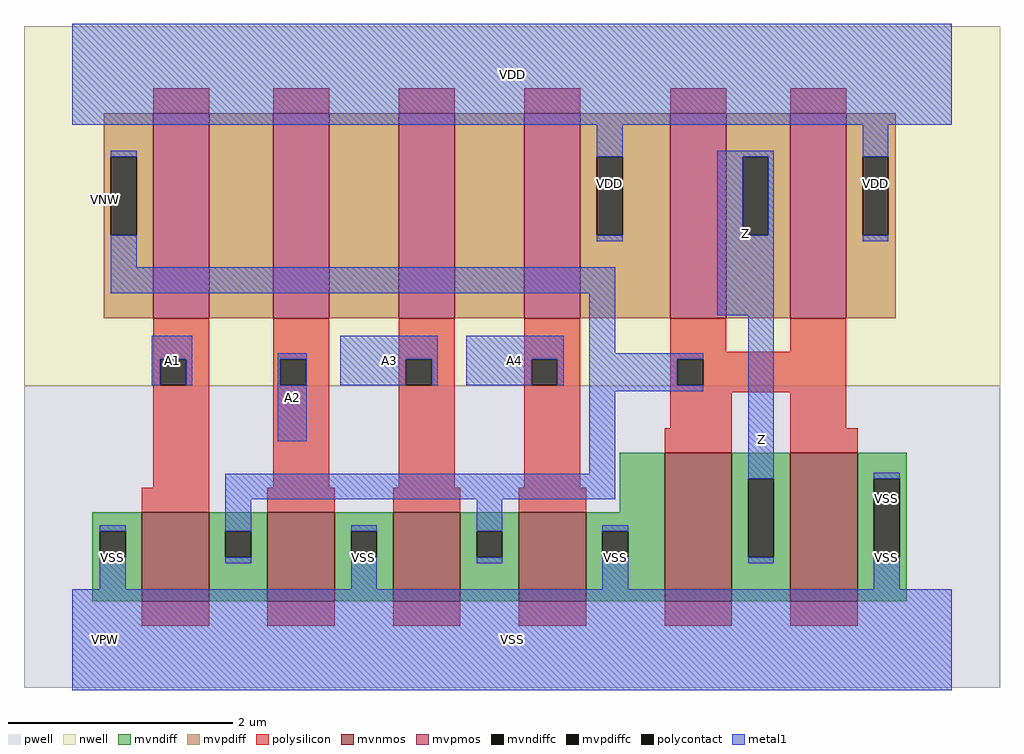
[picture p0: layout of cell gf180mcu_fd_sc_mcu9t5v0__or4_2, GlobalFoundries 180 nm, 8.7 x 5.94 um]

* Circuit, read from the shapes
.subckt gf180mcu_fd_sc_mcu9t5v0__or4_2 A1 A2 A3 A4 Z VDD VNW VPW VSS
XM1 n1 A1 VSS VPW nfet_06v0 w=0.79u l=0.6u
XM2 VSS A2 n1 VPW nfet_06v0 w=0.79u l=0.6u
XM3 n1 A3 VSS VPW nfet_06v0 w=0.79u l=0.6u
XM4 VSS A4 n1 VPW nfet_06v0 w=0.79u l=0.6u
XM5 Z n1 VSS VPW nfet_06v0 w=1.32u l=0.6u m=2
XM6 n2 A1 n1 VNW pfet_06v0 w=1.83u l=0.5u
XM7 n3 A2 n2 VNW pfet_06v0 w=1.83u l=0.5u
XM8 n4 A3 n3 VNW pfet_06v0 w=1.83u l=0.5u
XM9 VDD A4 n4 VNW pfet_06v0 w=1.83u l=0.5u
XM10 Z n1 VDD VNW pfet_06v0 w=1.83u l=0.5u m=2
.ends

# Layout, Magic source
magic
tech gf180mcuD
magscale 1 10
<< nwell >>
rect -86 453 1654 1094
<< pwell >>
rect -86 -86 1654 453
<< mvnmos >>
rect 124 69 244 227
rect 348 69 468 227
rect 572 69 692 227
rect 796 69 916 227
rect 1056 69 1176 333
rect 1280 69 1400 333
<< mvpmos >>
rect 144 573 244 939
rect 358 573 458 939
rect 582 573 682 939
rect 806 573 906 939
rect 1066 573 1166 939
rect 1280 573 1380 939
<< mvndiff >>
rect 976 227 1056 333
rect 36 193 124 227
rect 36 147 49 193
rect 95 147 124 193
rect 36 69 124 147
rect 244 193 348 227
rect 244 147 273 193
rect 319 147 348 193
rect 244 69 348 147
rect 468 193 572 227
rect 468 147 497 193
rect 543 147 572 193
rect 468 69 572 147
rect 692 193 796 227
rect 692 147 721 193
rect 767 147 796 193
rect 692 69 796 147
rect 916 193 1056 227
rect 916 147 945 193
rect 991 147 1056 193
rect 916 69 1056 147
rect 1176 287 1280 333
rect 1176 147 1205 287
rect 1251 147 1280 287
rect 1176 69 1280 147
rect 1400 287 1488 333
rect 1400 147 1429 287
rect 1475 147 1488 287
rect 1400 69 1488 147
<< mvpdiff >>
rect 56 861 144 939
rect 56 721 69 861
rect 115 721 144 861
rect 56 573 144 721
rect 244 573 358 939
rect 458 573 582 939
rect 682 573 806 939
rect 906 861 1066 939
rect 906 721 935 861
rect 981 721 1066 861
rect 906 573 1066 721
rect 1166 861 1280 939
rect 1166 721 1195 861
rect 1241 721 1280 861
rect 1166 573 1280 721
rect 1380 861 1468 939
rect 1380 721 1409 861
rect 1455 721 1468 861
rect 1380 573 1468 721
<< mvndiffc >>
rect 49 147 95 193
rect 273 147 319 193
rect 497 147 543 193
rect 721 147 767 193
rect 945 147 991 193
rect 1205 147 1251 287
rect 1429 147 1475 287
<< mvpdiffc >>
rect 69 721 115 861
rect 935 721 981 861
rect 1195 721 1241 861
rect 1409 721 1455 861
<< polysilicon >>
rect 144 939 244 983
rect 358 939 458 983
rect 582 939 682 983
rect 806 939 906 983
rect 1066 939 1166 983
rect 1280 939 1380 983
rect 144 500 244 573
rect 144 454 157 500
rect 203 454 244 500
rect 144 271 244 454
rect 358 500 458 573
rect 358 454 371 500
rect 417 454 458 500
rect 358 271 458 454
rect 582 500 682 573
rect 582 454 595 500
rect 641 454 682 500
rect 582 271 682 454
rect 806 500 906 573
rect 806 454 819 500
rect 865 454 906 500
rect 806 271 906 454
rect 1066 513 1166 573
rect 1280 513 1380 573
rect 1066 500 1380 513
rect 1066 454 1079 500
rect 1125 454 1380 500
rect 1066 441 1380 454
rect 1066 377 1176 441
rect 1056 333 1176 377
rect 1280 377 1380 441
rect 1280 333 1400 377
rect 124 227 244 271
rect 348 227 468 271
rect 572 227 692 271
rect 796 227 916 271
rect 124 25 244 69
rect 348 25 468 69
rect 572 25 692 69
rect 796 25 916 69
rect 1056 25 1176 69
rect 1280 25 1400 69
<< polycontact >>
rect 157 454 203 500
rect 371 454 417 500
rect 595 454 641 500
rect 819 454 865 500
rect 1079 454 1125 500
<< metal1 >>
rect 0 918 1568 1098
rect 69 861 115 872
rect 69 664 115 721
rect 935 861 981 918
rect 935 710 981 721
rect 1150 861 1251 872
rect 1150 721 1195 861
rect 1241 721 1251 861
rect 69 618 968 664
rect 142 500 214 542
rect 142 454 157 500
rect 203 454 214 500
rect 366 500 418 511
rect 366 454 371 500
rect 417 454 418 500
rect 478 500 652 542
rect 478 454 595 500
rect 641 454 652 500
rect 702 500 876 542
rect 702 454 819 500
rect 865 454 876 500
rect 922 511 968 618
rect 1150 578 1251 721
rect 1409 861 1455 918
rect 1409 710 1455 721
rect 922 500 1125 511
rect 922 454 1079 500
rect 366 354 418 454
rect 922 443 1125 454
rect 922 296 968 443
rect 273 250 968 296
rect 1205 287 1251 578
rect 49 193 95 204
rect 49 90 95 147
rect 273 193 319 250
rect 273 136 319 147
rect 497 193 543 204
rect 497 90 543 147
rect 721 193 767 250
rect 721 136 767 147
rect 945 193 991 204
rect 945 90 991 147
rect 1205 136 1251 147
rect 1429 287 1475 298
rect 1429 90 1475 147
rect 0 -90 1568 90
<< labels >>
flabel metal1 s 142 454 214 542 0 FreeSans 200 0 0 0 A1
port 1 nsew default input
flabel metal1 s 366 354 418 511 0 FreeSans 200 0 0 0 A2
port 2 nsew default input
flabel metal1 s 478 454 652 542 0 FreeSans 200 0 0 0 A3
port 3 nsew default input
flabel metal1 s 702 454 876 542 0 FreeSans 200 0 0 0 A4
port 4 nsew default input
flabel metal1 s 0 918 1568 1098 0 FreeSans 200 0 0 0 VDD
port 6 nsew power bidirectional abutment
flabel metal1 s 1429 204 1475 298 0 FreeSans 200 0 0 0 VSS
port 9 nsew ground bidirectional abutment
flabel metal1 s 1150 578 1251 872 0 FreeSans 200 0 0 0 Z
port 5 nsew default output
flabel nwell s 10 734 110 834 0 FreeSans 400 0 0 0 VNW
port 7 nsew power bidirectional
flabel pwell s 10 -50 110 50 0 FreeSans 400 0 0 0 VPW
port 8 nsew ground bidirectional
rlabel metal1 s 1205 136 1251 578 1 Z
port 5 nsew default output
rlabel metal1 s 1409 710 1455 918 1 VDD
port 6 nsew power bidirectional abutment
rlabel metal1 s 935 710 981 918 1 VDD
port 6 nsew power bidirectional abutment
rlabel metal1 s 1429 90 1475 204 1 VSS
port 9 nsew ground bidirectional abutment
rlabel metal1 s 945 90 991 204 1 VSS
port 9 nsew ground bidirectional abutment
rlabel metal1 s 497 90 543 204 1 VSS
port 9 nsew ground bidirectional abutment
rlabel metal1 s 49 90 95 204 1 VSS
port 9 nsew ground bidirectional abutment
rlabel metal1 s 0 -90 1568 90 1 VSS
port 9 nsew ground bidirectional abutment
<< properties >>
string FIXED_BBOX 0 0 1568 1008
string GDS_END 296786
string GDS_FILE $PDKPATH/libs.ref/gf180mcu_fd_sc_mcu9t5v0/gds/gf180mcu_fd_sc_mcu9t5v0.gds
string GDS_START 292514
string LEFclass core
string LEFsite GF018hv5v_green_sc9
string LEFsymmetry X Y
<< end >>
